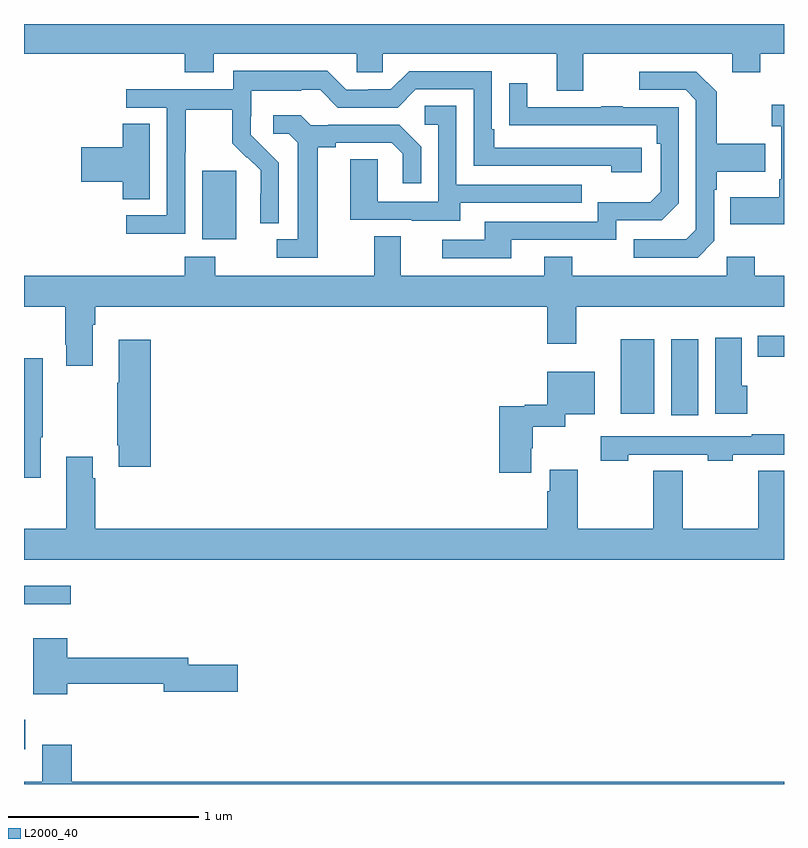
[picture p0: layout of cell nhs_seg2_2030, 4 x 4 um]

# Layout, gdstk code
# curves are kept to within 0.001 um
import gdstk
lib = gdstk.Library(unit=1e-6, precision=1e-09)
def R(c, l, rs):  # rectangles x0, y0, x1, y1
    for r in rs: c.add(gdstk.rectangle(r[:2], r[2:], *l))
def P(c, l, *ps):  # polygons
    for p in ps: c.add(gdstk.Polygon(p, *l))
L2000_40 = (2000, 40)

nhs_seg2_2030 = lib.new_cell('nhs_seg2_2030')
R(nhs_seg2_2030, L2000_40, [(217,635.984,217.006,636.138), (217,636.747,217.246,636.844), (220.406,637.74,220.549,638.14), (220.142,637.748,220.318,638.14), (220.863,638.049,221,638.158), (217.937,638.666,218.116,639.027)])
P(nhs_seg2_2030, L2000_40, [(219.943,639.644),(220.727,639.644),(220.727,639.545),(220.875,639.545),(220.875,639.644),(221,639.644),(221,639.8),(217,639.8),(217,639.644),(217.847,639.644),(217.847,639.545),(217.999,639.545),(217.999,639.644),(218.751,639.644),(218.751,639.546),(218.889,639.546),(218.889,639.644),(219.803,639.644),(219.803,639.45),(219.943,639.45)],
  [(217.848,639.124),(217.851,639.124),(217.851,639.348),(218.095,639.348),(218.095,639.173),(218.172,639.096),(218.175,639.099),(218.246,639.029),(218.246,638.906),(218.244,638.906),(218.244,638.752),(218.34,638.752),(218.34,639.07),(218.194,639.218),(218.194,639.315),(218.196,639.315),(218.196,639.449),(218.459,639.449),(218.459,639.453),(218.559,639.453),(218.652,639.36),(218.967,639.36),(219.063,639.456),(219.366,639.456),(219.366,639.054),(220.091,639.054),(220.091,639.02),(220.252,639.02),(220.252,639.15),(219.475,639.15),(219.475,639.247),(219.462,639.247),(219.462,639.552),(219.027,639.552),(218.931,639.456),(218.813,639.456),(218.813,639.453),(218.697,639.453),(218.597,639.553),(218.1,639.553),(218.1,639.456),(217.539,639.456),(217.539,639.36),(217.752,639.36),(217.752,638.793),(217.539,638.793),(217.539,638.695),(217.848,638.695)],
  [(220.632,638.658),(220.632,638.927),(220.645,638.927),(220.645,639.023),(220.901,639.023),(220.901,639.171),(220.645,639.171),(220.645,639.443),(220.539,639.549),(220.239,639.549),(220.239,639.453),(220.482,639.453),(220.536,639.399),(220.536,638.718),(220.485,638.667),(220.209,638.667),(220.209,638.571),(220.545,638.571)],
  [(219.565,638.664),(220.116,638.664),(220.116,638.766),(220.356,638.766),(220.446,638.856),(220.446,639.363),(220.151,639.363),(220.151,639.368),(220.039,639.368),(220.039,639.363),(219.649,639.363),(219.649,639.487),(219.553,639.487),(219.553,639.268),(220.33,639.267),(220.33,639.17),(220.35,639.17),(220.35,638.916),(220.297,638.863),(220.02,638.863),(220.02,638.76),(219.425,638.76),(219.425,638.664),(219.201,638.664),(219.201,638.568),(219.565,638.568)],
  [(221,639.376),(220.935,639.376),(220.935,639.263),(220.986,639.263),(220.986,638.983),(220.974,638.983),(220.974,638.887),(220.717,638.887),(220.717,638.747),(221,638.747)],
  [(219.295,638.859),(219.935,638.859),(219.935,638.955),(219.276,638.955),(219.276,639.371),(219.108,639.371),(219.108,639.27),(219.18,639.27),(219.18,638.865),(218.862,638.865),(218.862,639.089),(218.717,639.089),(218.717,638.769),(219.041,638.769),(219.041,638.765),(219.295,638.765)],
  [(218.545,639.152),(218.641,639.152),(218.641,639.174),(218.936,639.174),(218.993,639.117),(218.993,638.961),(219.09,638.961),(219.09,639.154),(218.974,639.27),(218.602,639.27),(218.602,639.267),(218.508,639.267),(218.456,639.319),(218.313,639.319),(218.313,639.222),(218.394,639.222),(218.441,639.175),(218.441,638.667),(218.331,638.667),(218.331,638.571),(218.545,638.571)],
  [(217.663,639.275),(217.52,639.275),(217.52,639.152),(217.302,639.152),(217.302,638.969),(217.52,638.969),(217.52,638.878),(217.663,638.878)],
  [(221,638.476),(220.845,638.476),(220.845,638.575),(220.698,638.575),(220.698,638.476),(219.885,638.476),(219.885,638.575),(219.737,638.575),(219.737,638.476),(218.983,638.476),(218.983,638.684),(218.843,638.684),(218.843,638.476),(218.007,638.476),(218.007,638.575),(217.847,638.575),(217.847,638.476),(217,638.476),(217,638.312),(217.216,638.312),(217.216,638.113),(217.223,638.113),(217.223,638.001),(217.363,638.001),(217.363,638.216),(217.376,638.216),(217.376,638.312),(219.755,638.312),(219.755,638.118),(219.907,638.118),(219.907,638.312),(221,638.312)],
  [(220.807,637.896),(220.777,637.896),(220.777,638.149),(220.637,638.149),(220.637,637.748),(220.807,637.748)],
  [(217.667,638.137),(217.499,638.137),(217.499,637.913),(217.492,637.913),(217.492,637.582),(217.499,637.582),(217.499,637.47),(217.667,637.47)],
  [(217.087,637.625),(217.099,637.625),(217.099,638.041),(217,638.041),(217,637.413),(217.087,637.413)],
  [(219.67,637.566),(219.678,637.566),(219.678,637.679),(219.849,637.679),(219.849,637.745),(220.003,637.745),(220.003,637.969),(219.753,637.969),(219.753,637.797),(219.636,637.797),(219.636,637.789),(219.5,637.789),(219.5,637.437),(219.67,637.437)],
  [(220.179,637.533),(220.599,637.533),(220.599,637.501),(220.731,637.501),(220.731,637.533),(221,637.533),(221,637.642),(220.831,637.642),(220.831,637.629),(220.035,637.629),(220.035,637.501),(220.179,637.501)],
  [(221,637.448),(220.864,637.448),(220.864,637.144),(220.466,637.144),(220.466,637.448),(220.312,637.448),(220.312,637.144),(219.915,637.144),(219.915,637.453),(219.767,637.453),(219.767,637.34),(219.755,637.34),(219.755,637.144),(217.376,637.144),(217.376,637.409),(217.363,637.409),(217.363,637.522),(217.223,637.522),(217.223,637.144),(217,637.144),(217,636.98),(221,636.98)],
  [(217.228,636.328),(217.736,636.328),(217.736,636.286),(218.125,636.286),(218.125,636.428),(217.864,636.428),(217.864,636.464),(217.228,636.464),(217.228,636.568),(217.049,636.568),(217.049,636.272),(217.228,636.272)],
  [(221,635.812),(217.25,635.812),(217.25,636.007),(217.097,636.007),(217.097,635.812),(217,635.812),(217,635.8),(221,635.8)])

lib.write_gds('nhs_seg2_2030.gds')
